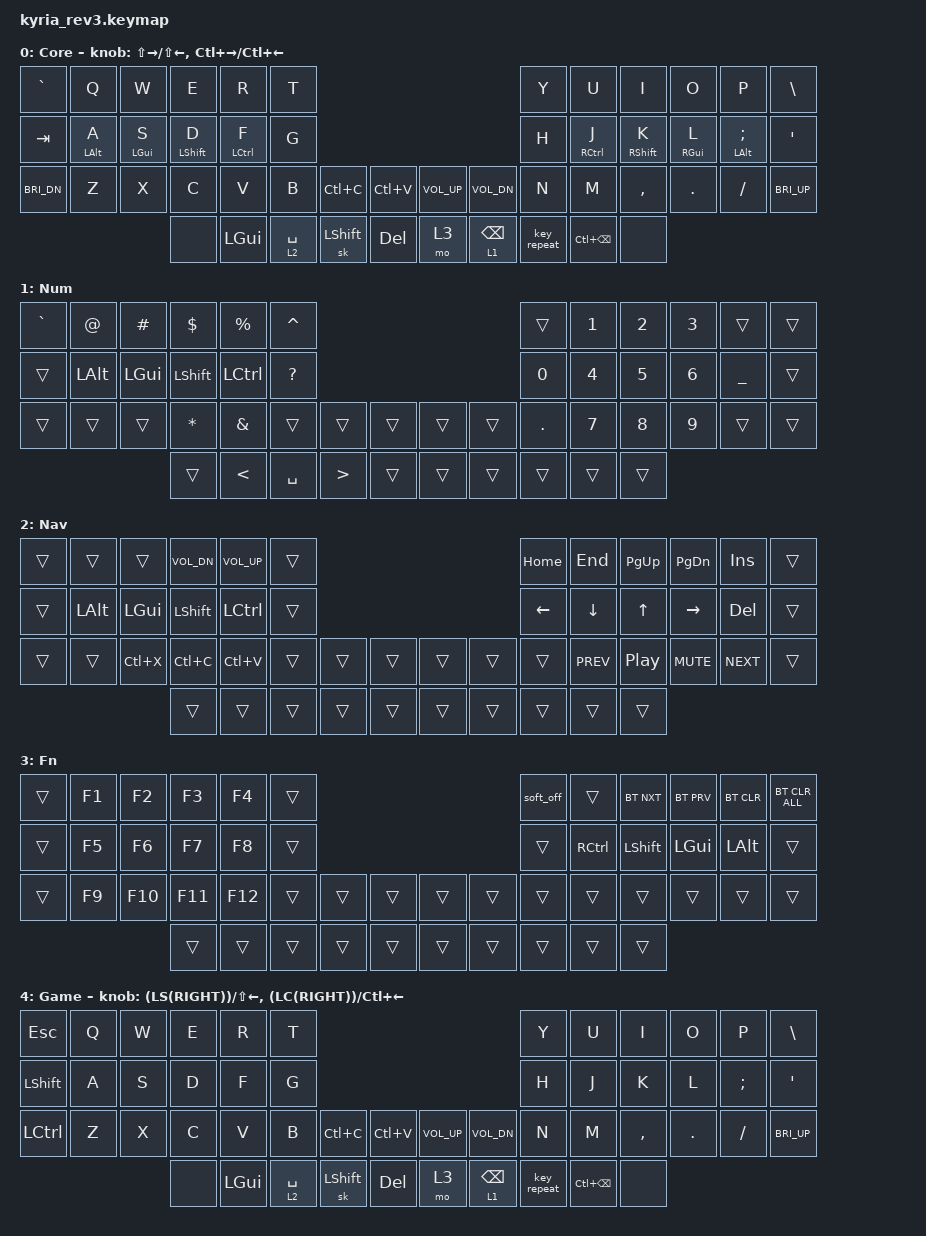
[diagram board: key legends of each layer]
/*
 * Copyright (c) 2023 The ZMK Contributors
 *
 * SPDX-License-Identifier: MIT
 */

#include <behaviors.dtsi>
#include <dt-bindings/zmk/bt.h>
#include <dt-bindings/zmk/keys.h>

#define MAIN_COMBO_TIMEOUT 24
#define TIGHT_MAIN_COMBO_TIMEOUT 17

&lt { quick-tap-ms = <175>; };

/ {
    combos {
        compatible = "zmk,combos";

        dijkstra_esc {
            timeout-ms = <MAIN_COMBO_TIMEOUT>;
            bindings = <&kp ESC>;
            key-positions = <20 19>;
            layers = <0>;
        };

        combo_ret {
            timeout-ms = <MAIN_COMBO_TIMEOUT>;
            bindings = <&kp RET>;
            key-positions = <19 20 21>;
            layers = <0 1 2>;
        };

        combo_rparen {
            timeout-ms = <MAIN_COMBO_TIMEOUT>;
            bindings = <&kp RIGHT_PARENTHESIS>;
            key-positions = <20 21>;
            layers = <0>;
        };

        combo_lparen {
            timeout-ms = <MAIN_COMBO_TIMEOUT>;
            bindings = <&kp LEFT_PARENTHESIS>;
            key-positions = <15 14>;
            layers = <0>;
        };

        combo_lbrack {
            timeout-ms = <MAIN_COMBO_TIMEOUT>;
            bindings = <&kp LEFT_BRACKET>;
            key-positions = <27 26>;
            layers = <0>;
        };

        combo_rbrack {
            timeout-ms = <MAIN_COMBO_TIMEOUT>;
            bindings = <&kp RIGHT_BRACKET>;
            key-positions = <37 36>;
            layers = <0>;
        };

        combo_lbrace {
            timeout-ms = <MAIN_COMBO_TIMEOUT>;
            bindings = <&kp LEFT_BRACE>;
            key-positions = <2 3>;
            layers = <0>;
        };

        combo_rbrace {
            timeout-ms = <TIGHT_MAIN_COMBO_TIMEOUT>;
            bindings = <&kp RIGHT_BRACE>;
            key-positions = <8 9>;
            layers = <0>;
        };

        combo_exclaim {
            timeout-ms = <MAIN_COMBO_TIMEOUT>;
            bindings = <&kp EXCL>;
            key-positions = <9 10>;
            layers = <0>;
        };

        combo_equals_ {
            timeout-ms = <MAIN_COMBO_TIMEOUT>;
            bindings = <&kp EQUAL>;
            key-positions = <7 8>;
            layers = <0 1>;
        };

        combo_dash {
            timeout-ms = <MAIN_COMBO_TIMEOUT>;
            bindings = <&kp MINUS>;
            key-positions = <15 16>;
            layers = <0>;
        };

        combo_symbolic_bspc {
            timeout-ms = <MAIN_COMBO_TIMEOUT>;
            bindings = <&kp BACKSPACE>;
            key-positions = <15 16>;
            layers = <1>;
        };

        combo_symbolic_dash {
            timeout-ms = <MAIN_COMBO_TIMEOUT>;
            bindings = <&kp MINUS>;
            key-positions = <20 19>;
            layers = <1>;
        };

        combo_underscore {
            timeout-ms = <MAIN_COMBO_TIMEOUT>;
            bindings = <&kp UNDERSCORE>;
            key-positions = <4 3>;
            layers = <0>;
        };

        combo_at_the_rate {
            timeout-ms = <MAIN_COMBO_TIMEOUT>;
            bindings = <&kp AT>;
            key-positions = <1 2>;
            layers = <0>;
        };

        combo_asterisk {
            timeout-ms = <MAIN_COMBO_TIMEOUT>;
            bindings = <&kp ASTERISK>;
            key-positions = <28 27>;
            layers = <0>;
        };

        combo_colon {
            timeout-ms = <MAIN_COMBO_TIMEOUT>;
            bindings = <&kp COLON>;
            key-positions = <35 36>;
            layers = <0 1>;
        };

        combo_cut {
            timeout-ms = <MAIN_COMBO_TIMEOUT>;
            bindings = <&kp LC(X)>;
            key-positions = <31 44>;
            layers = <0>;
        };

        combo_caps_word {
            timeout-ms = <MAIN_COMBO_TIMEOUT>;
            bindings = <&caps_word>;
            key-positions = <32 45>;
            layers = <0>;
        };

        combo_dollar {
            timeout-ms = <MAIN_COMBO_TIMEOUT>;
            bindings = <&kp DOLLAR>;
            key-positions = <3 15>;
            layers = <0>;
        };

        combo_go_to_game {
            timeout-ms = <MAIN_COMBO_TIMEOUT>;
            bindings = <&tog 4>;
            key-positions = <24 12 0>;
            layers = <0>;
        };
    };

    behaviors {
        hml: home_row_mod_left {
            compatible = "zmk,behavior-hold-tap";
            #binding-cells = <2>;
            flavor = "balanced";
            require-prior-idle-ms = <150>;
            tapping-term-ms = <280>;
            quick-tap-ms = <175>;
            bindings = <&kp>, <&kp>;

            // R_KEYS

            hold-trigger-key-positions = <6 7 8 9 10 11 18 19 20 21 22 23 32 33 34 35 36 37 38 39 45 46 47 48 49>;
            hold-trigger-on-release;
        };

        hmr: home_row_mod_right {
            compatible = "zmk,behavior-hold-tap";
            #binding-cells = <2>;
            flavor = "balanced";
            require-prior-idle-ms = <150>;
            tapping-term-ms = <280>;
            quick-tap-ms = <175>;
            bindings = <&kp>, <&kp>;

            // L_KEYS

            hold-trigger-key-positions = <0 1 2 3 4 5 12 13 14 15 16 17 24 25 26 27 28 29 30 31 40 41 42 43 44>;
            hold-trigger-on-release;
        };
    };

    keymap {
        compatible = "zmk,keymap";

        Core {
            bindings = <
&kp GRAVE     &kp Q        &kp W        &kp E         &kp R         &kp T                                                          &kp Y        &kp U         &kp I         &kp O        &kp P           &kp BSLH
&kp TAB       &hml LALT A  &hml LGUI S  &hml LSHFT D  &hml LCTRL F  &kp G                                                          &kp H        &hmr RCTRL J  &hmr RSHFT K  &hmr RGUI L  &hmr LALT SEMI  &kp SQT
&kp C_BRI_DN  &kp Z        &kp X        &kp C         &kp V         &kp B        &kp LC(C)  &kp LC(V)  &kp C_VOL_UP  &kp C_VOL_DN  &kp N        &kp M         &kp COMMA     &kp DOT      &kp FSLH        &kp C_BRI_UP
                                        &none         &kp LGUI      &lt 2 SPACE  &sk LSHFT  &kp DEL    &mo 3         &lt 1 BSPC    &key_repeat  &kp LC(BSPC)  &none
            >;

            sensor-bindings =
                <&inc_dec_kp LS(RIGHT) LS(LEFT)>,
                <&inc_dec_kp LC(RIGHT) LC(LEFT)>;
        };

        Num {
            bindings = <
&kp GRAVE  &kp AT    &kp HASH  &kp DLLR   &kp PRCNT  &kp CARET                                  &trans   &kp N1  &kp N2  &kp N3  &trans     &trans
&trans     &kp LALT  &kp LGUI  &kp LSHFT  &kp LCTRL  &kp QMARK                                  &kp N0   &kp N4  &kp N5  &kp N6  &kp UNDER  &trans
&trans     &trans    &trans    &kp ASTRK  &kp AMPS   &trans     &trans  &trans  &trans  &trans  &kp DOT  &kp N7  &kp N8  &kp N9  &trans     &trans
                               &trans     &kp LT     &kp SPACE  &kp GT  &trans  &trans  &trans  &trans   &trans  &trans
            >;
        };

        Nav {
            bindings = <
&trans  &trans    &trans     &kp C_VOL_DN  &kp C_VOL_UP  &trans                                  &kp HOME  &kp END     &kp PG_UP  &kp PG_DN   &kp INS     &trans
&trans  &kp LALT  &kp LGUI   &kp LSHFT     &kp LCTRL     &trans                                  &kp LEFT  &kp DOWN    &kp UP     &kp RIGHT   &kp DEL     &trans
&trans  &trans    &kp LC(X)  &kp LC(C)     &kp LC(V)     &trans  &trans  &trans  &trans  &trans  &trans    &kp C_PREV  &kp C_PP   &kp C_MUTE  &kp C_NEXT  &trans
                             &trans        &trans        &trans  &trans  &trans  &trans  &trans  &trans    &trans      &trans
            >;
        };

        Fn {
            bindings = <
&trans  &kp F1  &kp F2   &kp F3   &kp F4   &trans                                  &soft_off  &trans     &bt BT_NXT  &bt BT_PRV  &bt BT_CLR  &bt BT_CLR_ALL
&trans  &kp F5  &kp F6   &kp F7   &kp F8   &trans                                  &trans     &kp RCTRL  &kp LSHFT   &kp LGUI    &kp LALT    &trans
&trans  &kp F9  &kp F10  &kp F11  &kp F12  &trans  &trans  &trans  &trans  &trans  &trans     &trans     &trans      &trans      &trans      &trans
                         &trans   &trans   &trans  &trans  &trans  &trans  &trans  &trans     &trans     &trans
            >;
        };

        Game {
            bindings = <
&kp ESC    &kp Q  &kp W  &kp E  &kp R     &kp T                                                          &kp Y        &kp U         &kp I      &kp O    &kp P     &kp BSLH
&kp LSHFT  &kp A  &kp S  &kp D  &kp F     &kp G                                                          &kp H        &kp J         &kp K      &kp L    &kp SEMI  &kp SQT
&kp LCTRL  &kp Z  &kp X  &kp C  &kp V     &kp B        &kp LC(C)  &kp LC(V)  &kp C_VOL_UP  &kp C_VOL_DN  &kp N        &kp M         &kp COMMA  &kp DOT  &kp FSLH  &kp C_BRI_UP
                         &none  &kp LGUI  &lt 2 SPACE  &sk LSHFT  &kp DEL    &mo 3         &lt 1 BSPC    &key_repeat  &kp LC(BSPC)  &none
            >;

            sensor-bindings =
                <&inc_dec_kp (LS(RIGHT)) LS(LEFT)>,
                <&inc_dec_kp (LC(RIGHT)) LC(LEFT)>;
        };
    };
};

